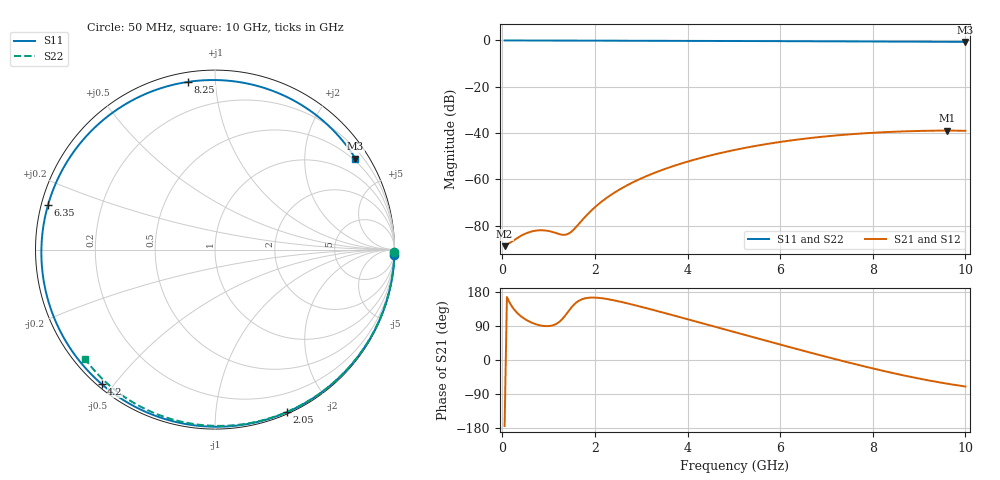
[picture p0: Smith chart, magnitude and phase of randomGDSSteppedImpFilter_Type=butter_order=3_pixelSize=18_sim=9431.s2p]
! freq	dB(S11)	phase(S11)	dB(S12)	phase(S12)
!  dB(S21)	phase(S21)	dB(S22)	phase(S22)
!S-par simulation data
#  GHz  S  DB  R 50
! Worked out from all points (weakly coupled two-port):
!   200 points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, 50 MHz to 10 GHz, reference 50 ohm
!   highest |S21| = -38.94 dB at 9.6 GHz (marker M1); lowest = -88.9 dB at 50 MHz (marker M2)
!   lowest |S11| = -0.6 dB at 10 GHz (marker M3), VSWR 28.59, Z = 21.4 + j167 ohm
!   |S11| at or under -10 dB: nowhere
!   |S22| runs from -0.5 to 0.0 dB; largest |S21 - S12| = 0
!   S11 on the Smith chart (normalised r, x): 50 MHz: 0, -69; 2.05 GHz: 0.02, -1.54; 4.2 GHz: 0.01, -0.46; 6.35 GHz: 0.02, +0.13; 8.25 GHz: 0.05, +0.85; 10 GHz: 0.43, +3.33
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0.05  -0.00 -1.7  -88.86 -174.1  -88.86 -174.1  -0.00 -0.8
0.4  -0.01 -13.2  -84.40 115.7  -84.40 115.7  -0.00 -6.4
0.8  -0.03 -26.3  -82.00 91.8  -82.00 91.8  -0.01 -12.8
1.6  -0.07 -51.9  -80.45 151.9  -80.45 151.9  -0.03 -25.4
1.75  -0.07 -56.7  -77.04 161.5  -77.04 161.5  -0.04 -27.8
2.05  -0.08 -66.0  -71.17 164.3  -71.17 164.3  -0.04 -32.4
2.35  -0.09 -75.2  -66.66 159.0  -66.66 159.0  -0.05 -37.0
2.65  -0.11 -84.4  -63.05 151.0  -63.05 151.0  -0.05 -41.6
3.4  -0.14 -106.7  -56.32 127.5  -56.32 127.5  -0.07 -52.8
4.2  -0.18 -130.1  -51.20 101.0  -51.20 101.0  -0.09 -64.4
5.05  -0.23 -155.1  -47.16 72.4  -47.16 72.4  -0.12 -76.3
5.7  -0.28 -174.6  -44.77 50.7  -44.77 50.7  -0.14 -85.2
6.35  -0.33 165.1  -42.87 29.2  -42.87 29.2  -0.17 -93.8
6.7  -0.36 153.7  -42.04 17.9  -42.04 17.9  -0.19 -98.4
7.1  -0.39 140.3  -41.22 5.1  -41.22 5.1  -0.21 -103.5
7.55  -0.43 124.7  -40.47 -8.8  -40.47 -8.8  -0.24 -109.2
7.9  -0.45 112.1  -40.00 -19.3  -40.00 -19.3  -0.27 -113.6
8.25  -0.48 99.2  -39.62 -29.4  -39.62 -29.4  -0.30 -118.0
8.35  -0.48 95.5  -39.52 -32.2  -39.52 -32.2  -0.31 -119.2
8.95  -0.52 72.7  -39.11 -47.8  -39.11 -47.8  -0.36 -126.7
9.6  -0.57 47.9  -38.94 -62.4  -38.94 -62.4  -0.43 -134.8
10  -0.61 32.9  -39.03 -70.0  -39.03 -70.0  -0.48 -140.0
